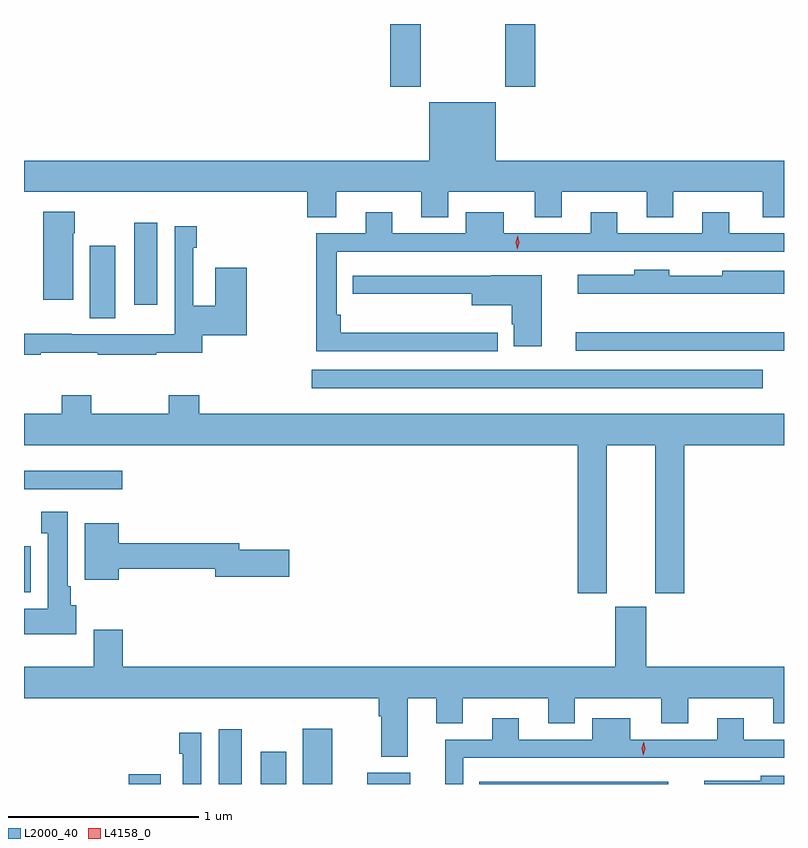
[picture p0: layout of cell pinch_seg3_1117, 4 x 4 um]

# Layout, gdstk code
import gdstk
lib = gdstk.Library(unit=1e-6, precision=1e-09)
def R(c, l, rs):  # rectangles x0, y0, x1, y1
    for r in rs: c.add(gdstk.rectangle(r[:2], r[2:], *l))
def P(c, l, *ps):  # polygons
    for p in ps: c.add(gdstk.Polygon(p, *l))
L2000_40 = (2000, 40)
L4158_0 = (4158, 0)

pinch_seg3_1117 = lib.new_cell('pinch_seg3_1117')
R(pinch_seg3_1117, L2000_40, [(125.594,715.116,125.764,715.168), (126.068,715.116,126.19,715.405), (126.29,715.116,126.424,715.285), (126.512,715.116,126.667,715.408), (126.851,715.116,127.078,715.174), (125.044,716.126,125.08,716.368), (125.044,716.667,125.56,716.764), (126.558,717.2,128.932,717.297), (127.947,717.396,129.044,717.494), (125.39,717.568,125.524,717.949), (125.624,717.639,125.746,718.069), (126.971,718.785,127.131,719.116), (127.576,718.785,127.736,719.116)])
P(pinch_seg3_1117, L2000_40, [(126.688,718.232),(127.136,718.232),(127.136,718.099),(127.276,718.099),(127.276,718.232),(127.733,718.232),(127.733,718.099),(127.873,718.099),(127.873,718.232),(128.321,718.232),(128.321,718.099),(128.461,718.099),(128.461,718.232),(128.933,718.232),(128.933,718.099),(129.044,718.099),(129.044,718.396),(127.528,718.396),(127.528,718.705),(127.178,718.705),(127.178,718.396),(125.044,718.396),(125.044,718.232),(126.536,718.232),(126.536,718.099),(126.688,718.099)],
  [(125.302,718.016),(125.31,718.016),(125.31,718.129),(125.144,718.129),(125.144,717.666),(125.302,717.666)],
  [(127.537,717.49),(127.304,717.49),(127.304,717.491),(126.71,717.491),(126.71,717.586),(126.69,717.586),(126.69,717.918),(129.044,717.918),(129.044,718.014),(128.755,718.014),(128.755,718.126),(128.615,718.126),(128.615,718.014),(128.167,718.014),(128.167,718.126),(128.027,718.126),(128.027,718.014),(127.57,718.014),(127.57,718.126),(127.37,718.126),(127.37,718.014),(126.982,718.014),(126.982,718.126),(126.842,718.126),(126.842,718.014),(126.582,718.014),(126.582,717.393),(127.537,717.393)],
  [(125.131,717.385),(125.431,717.385),(125.431,717.375),(125.741,717.375),(125.741,717.385),(125.981,717.385),(125.981,717.479),(126.216,717.479),(126.216,717.832),(126.05,717.832),(126.05,717.632),(125.934,717.632),(125.934,717.938),(125.954,717.938),(125.954,718.051),(125.838,718.051),(125.838,717.484),(125.628,717.484),(125.628,717.483),(125.294,717.483),(125.294,717.485),(125.044,717.485),(125.044,717.375),(125.131,717.375)],
  [(129.044,717.817),(128.718,717.817),(128.718,717.792),(128.44,717.792),(128.44,717.823),(128.256,717.823),(128.256,717.796),(127.959,717.796),(127.959,717.695),(129.044,717.695)],
  [(127.768,717.793),(127.504,717.793),(127.504,717.792),(126.886,717.792),(126.886,717.791),(126.775,717.791),(126.775,717.695),(127.4,717.695),(127.4,717.635),(127.61,717.635),(127.61,717.536),(127.622,717.536),(127.622,717.42),(127.768,717.42)],
  [(128.11,716.9),(128.366,716.9),(128.366,716.121),(128.519,716.121),(128.519,716.9),(129.044,716.9),(129.044,717.064),(125.966,717.064),(125.966,717.163),(125.806,717.163),(125.806,717.064),(125.397,717.064),(125.397,717.163),(125.242,717.163),(125.242,717.064),(125.044,717.064),(125.044,716.9),(127.958,716.9),(127.958,716.121),(128.11,716.121)],
  [(125.32,716.058),(125.29,716.058),(125.29,716.158),(125.275,716.158),(125.275,716.548),(125.135,716.548),(125.135,716.435),(125.168,716.435),(125.168,716.038),(125.044,716.038),(125.044,715.904),(125.32,715.904)],
  [(125.542,716.248),(126.05,716.248),(126.05,716.206),(126.439,716.206),(126.439,716.348),(126.178,716.348),(126.178,716.384),(125.542,716.384),(125.542,716.488),(125.363,716.488),(125.363,716.192),(125.542,716.192)],
  [(127.063,715.568),(127.214,715.568),(127.214,715.435),(127.354,715.435),(127.354,715.568),(127.802,715.568),(127.802,715.435),(127.942,715.435),(127.942,715.568),(128.399,715.568),(128.399,715.435),(128.539,715.435),(128.539,715.568),(128.987,715.568),(128.987,715.435),(129.044,715.435),(129.044,715.732),(128.32,715.732),(128.32,716.049),(128.156,716.049),(128.156,715.732),(125.564,715.732),(125.564,715.927),(125.411,715.927),(125.411,715.732),(125.044,715.732),(125.044,715.568),(126.911,715.568),(126.911,715.472),(126.923,715.472),(126.923,715.259),(127.063,715.259)],
  [(127.356,715.254),(129.044,715.254),(129.044,715.35),(128.833,715.35),(128.833,715.462),(128.693,715.462),(128.693,715.35),(128.236,715.35),(128.236,715.462),(128.036,715.462),(128.036,715.35),(127.648,715.35),(127.648,715.462),(127.508,715.462),(127.508,715.35),(127.26,715.35),(127.26,715.116),(127.356,715.116)],
  [(125.976,715.387),(125.86,715.387),(125.86,715.274),(125.88,715.274),(125.88,715.116),(125.976,715.116)],
  [(129.044,715.159),(128.922,715.159),(128.922,715.132),(128.625,715.132),(128.625,715.116),(129.044,715.116)],
  [(128.434,715.129),(128.17,715.129),(128.17,715.128),(127.552,715.128),(127.552,715.127),(127.441,715.127),(127.441,715.116),(128.434,715.116)])
P(pinch_seg3_1117, L4158_0, [(128.303,715.267),(128.303,715.267),(128.294,715.303),(128.305,715.338),(128.305,715.338),(128.305,715.338),(128.314,715.302),(128.303,715.267)],
  [(127.639,717.931),(127.639,717.931),(127.631,717.967),(127.642,718.001),(127.642,718.002),(127.642,718.001),(127.651,717.966),(127.64,717.931)])

lib.write_gds('pinch_seg3_1117.gds')
